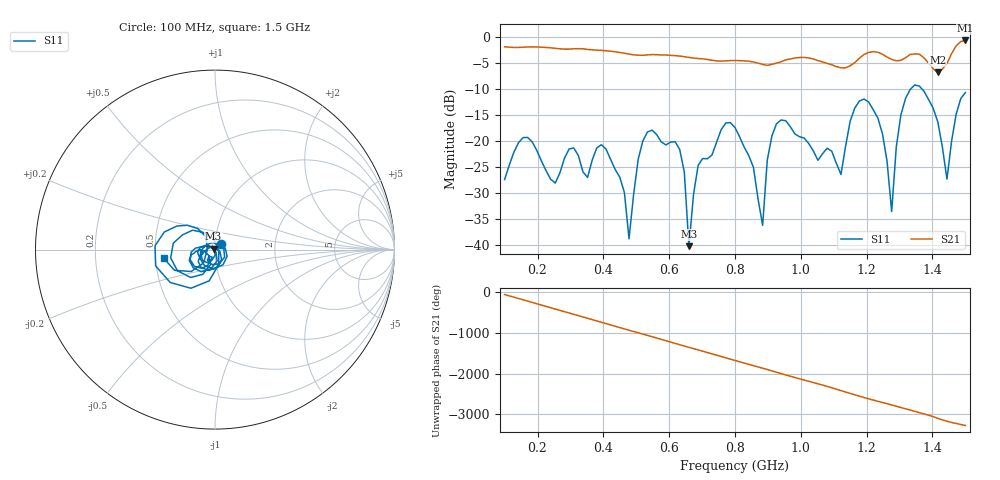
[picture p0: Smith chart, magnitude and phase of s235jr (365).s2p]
! NanoVNA-App
! Date: 2025-09-25 15:07:00
! Start: 100MHz Stop: 1,5GHz Points: 101
! S-Parameter data: F S11 S21 S12 S22
# Hz S RI R 50
!  Frequency  S11_Real  S11_Imag  S21_Real  S21_Imag  S12_Real  S12_Imag  S22_Real  S22_Imag
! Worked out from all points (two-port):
!   101 points, 100 MHz to 1.5 GHz, reference 50 ohm
!   highest |S21| = -0.75 dB at 1.5 GHz (marker M1); lowest = -6.9 dB at 1.416 GHz (marker M2)
!   |S21| within 3 dB of the highest: start of sweep to 632.7 MHz; 1.186 GHz to 1.257 GHz (70.98 MHz wide, 5.81 % of centre) (the widest 2 of 4)
!   lowest |S11| = -40.3 dB at 660 MHz (marker M3), VSWR 1.02, Z = 49.2 + j0.545 ohm
!   |S11| at or under -10 dB: start of sweep to 1.335 GHz; 1.367 GHz to end of sweep
!   S12 and S22 are empty: the file has one direction only
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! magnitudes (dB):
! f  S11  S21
! 100 MHz  -27.5  -2.0
! 156 MHz  -19.4  -2.0
! 338 MHz  -26.0  -2.3
! 408 MHz  -21.6  -2.7
! 478 MHz  -38.9  -3.4
! 520 MHz  -20.1  -3.6
! 576 MHz  -20.2  -3.5
! 632 MHz  -21.7  -3.7
! 660 MHz  -40.3  -4.0
! 688 MHz  -24.7  -4.2
! 800 MHz  -17.5  -4.6
! 884 MHz  -36.3  -5.4
! 926 MHz  -16.8  -5.1
! 1.038 GHz  -22.0  -4.3
! 1.122 GHz  -26.5  -6.0
! 1.206 GHz  -12.6  -3.1
! 1.276 GHz  -33.6  -4.4
! 1.304 GHz  -15.0  -4.6
! 1.332 GHz  -10.2  -3.4
! 1.416 GHz  -16.4  -6.9
! 1.444 GHz  -27.4  -5.2
! 1.5 GHz  -10.8  -0.7
